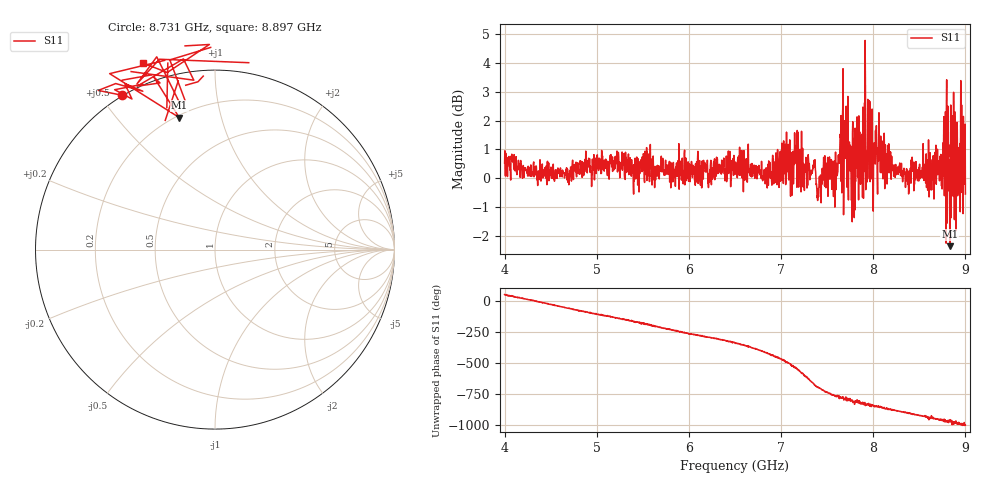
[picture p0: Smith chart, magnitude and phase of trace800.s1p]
! Created with skrf 1.8.0 (http://scikit-rf.org).
# Hz S RI R 50.0
!freq ReS11 ImS11
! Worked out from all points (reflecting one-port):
!   1601 points, 4 GHz to 9 GHz, reference 50 ohm
!   lowest |S11| = -2.4 dB at 8.831 GHz (marker M1), VSWR 7.42, Z = 10.6 + j37.2 ohm
!   phase of S11 starts at 51 deg and turns -1055 deg over the sweep
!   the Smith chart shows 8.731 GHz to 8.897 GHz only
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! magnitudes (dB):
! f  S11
! 4 GHz  0.5
! 4.625 GHz  0.0
! 5.25 GHz  0.0
! 5.875 GHz  0.1
! 6.5 GHz  0.4
! 6.825 GHz  0.1
! 7.125 GHz  0.2
! 7.162 GHz  0.7
! 7.262 GHz  0.4
! 7.353 GHz  0.4
! 7.409 GHz  -0.5
! 7.591 GHz  0.9
! 7.65 GHz  2.2
! 7.688 GHz  2.0
! 7.75 GHz  0.3
! 7.784 GHz  0.0
! 7.844 GHz  2.2
! 7.878 GHz  1.0
! 7.928 GHz  0.3
! 7.981 GHz  0.0
! 8.05 GHz  1.1
! 8.375 GHz  0.0
! 8.728 GHz  0.2
! 8.788 GHz  -0.3
! 8.831 GHz  -2.4
! 8.919 GHz  -0.5
! 8.972 GHz  1.1
! 9 GHz  -0.5
